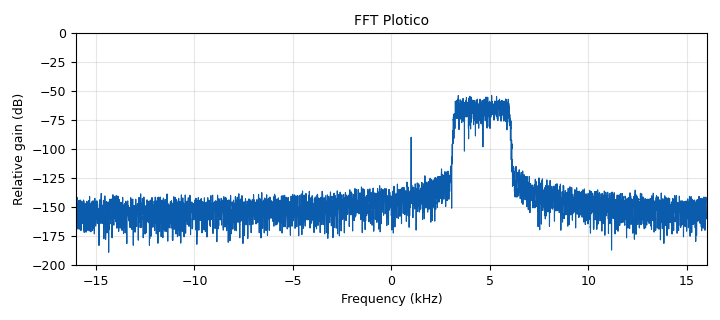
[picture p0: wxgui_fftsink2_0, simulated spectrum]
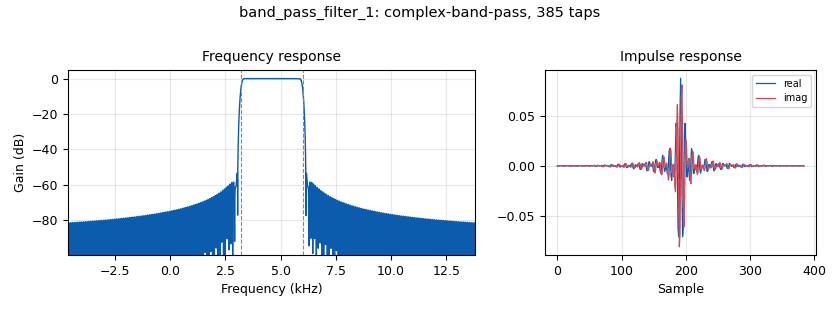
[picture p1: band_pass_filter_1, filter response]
<?xml version='1.0' encoding='utf-8'?>
<flow_graph>
<block>
<key>options</key>
<param><key>id</key><value>top_block</value></param>
<param><key>generate_options</key><value>wx_gui</value></param>
<param><key>category</key><value>Custom</value></param>
</block>
<block>
<key>variable</key>
<param><key>id</key><value>samp_rate</value></param>
<param><key>value</key><value>32000</value></param>
</block>
<block>
<key>audio_sink</key>
<param><key>id</key><value>audio_sink_0</value></param>
<param><key>samp_rate</key><value>samp_rate</value></param>
</block>
<block>
<key>blocks_add_xx</key>
<param><key>id</key><value>blocks_add_xx_0</value></param>
<param><key>type</key><value>complex</value></param>
</block>
<block>
<key>blocks_complex_to_float</key>
<param><key>id</key><value>blocks_complex_to_float_0</value></param>
</block>
<block>
<key>band_pass_filter</key>
<param><key>id</key><value>band_pass_filter_1</value></param>
<param><key>type</key><value>interp_fir_filter_ccc</value></param>
<param><key>interp</key><value>1</value></param>
<param><key>gain</key><value>1</value></param>
<param><key>samp_rate</key><value>samp_rate</value></param>
<param><key>low_cutoff_freq</key><value>3200</value></param>
<param><key>high_cutoff_freq</key><value>6000</value></param>
<param><key>width</key><value>200</value></param>
<param><key>win</key><value>firdes.WIN_HAMMING</value></param>
</block>
<block>
<key>analog_noise_source_x</key>
<param><key>id</key><value>analog_noise_source_x_0</value></param>
<param><key>type</key><value>complex</value></param>
<param><key>noise_type</key><value>analog.GR_GAUSSIAN</value></param>
<param><key>amp</key><value>0.07</value></param>
<param><key>seed</key><value>0</value></param>
</block>
<block>
<key>analog_sig_source_x</key>
<param><key>id</key><value>analog_sig_source_x_0</value></param>
<param><key>type</key><value>complex</value></param>
<param><key>samp_rate</key><value>samp_rate</value></param>
<param><key>waveform</key><value>analog.GR_COS_WAVE</value></param>
<param><key>freq</key><value>freq_from_slider</value></param>
<param><key>amp</key><value>0.5</value></param>
<param><key>offset</key><value>0</value></param>
</block>
<block>
<key>variable_slider</key>
<param><key>id</key><value>freq_from_slider</value></param>
<param><key>label</key><value></value></param>
<param><key>value</key><value>1000</value></param>
<param><key>min</key><value>0</value></param>
<param><key>max</key><value>14000</value></param>
<param><key>num_steps</key><value>100</value></param>
<param><key>style</key><value>wx.SL_HORIZONTAL</value></param>
<param><key>converver</key><value>float_converter</value></param>
</block>
<block>
<key>vocoder_g723_40_encode_sb</key>
<param><key>id</key><value>vocoder_g723_40_encode_sb_0</value></param>
<param><key>_enabled</key><value>False</value></param>
</block>
<block>
<key>audio_source</key>
<param><key>id</key><value>audio_source_0</value></param>
<param><key>_enabled</key><value>False</value></param>
<param><key>samp_rate</key><value>samp_rate</value></param>
</block>
<block>
<key>wxgui_fftsink2</key>
<param><key>id</key><value>wxgui_fftsink2_0</value></param>
<param><key>type</key><value>complex</value></param>
<param><key>title</key><value>FFT Plotico</value></param>
<param><key>samp_rate</key><value>samp_rate</value></param>
<param><key>baseband_freq</key><value>0</value></param>
<param><key>y_per_div</key><value>20</value></param>
<param><key>y_divs</key><value>10</value></param>
<param><key>ref_level</key><value>0</value></param>
<param><key>ref_scale</key><value>2.0</value></param>
<param><key>fft_size</key><value>8192</value></param>
<param><key>fft_rate</key><value>25</value></param>
<param><key>peak_hold</key><value>False</value></param>
<param><key>average</key><value>False</value></param>
<param><key>avg_alpha</key><value>0</value></param>
<param><key>win</key><value>None</value></param>
<param><key>freqvar</key><value>None</value></param>
</block>
<connection><source_block_id>analog_sig_source_x_0</source_block_id><sink_block_id>blocks_add_xx_0</sink_block_id><source_key>0</source_key><sink_key>0</sink_key></connection>
<connection><source_block_id>analog_noise_source_x_0</source_block_id><sink_block_id>blocks_add_xx_0</sink_block_id><source_key>0</source_key><sink_key>1</sink_key></connection>
<connection><source_block_id>blocks_complex_to_float_0</source_block_id><sink_block_id>audio_sink_0</sink_block_id><source_key>0</source_key><sink_key>0</sink_key></connection>
<connection><source_block_id>blocks_add_xx_0</source_block_id><sink_block_id>band_pass_filter_1</sink_block_id><source_key>0</source_key><sink_key>0</sink_key></connection>
<connection><source_block_id>band_pass_filter_1</source_block_id><sink_block_id>wxgui_fftsink2_0</sink_block_id><source_key>0</source_key><sink_key>0</sink_key></connection>
<connection><source_block_id>band_pass_filter_1</source_block_id><sink_block_id>blocks_complex_to_float_0</sink_block_id><source_key>0</source_key><sink_key>0</sink_key></connection>
</flow_graph>
